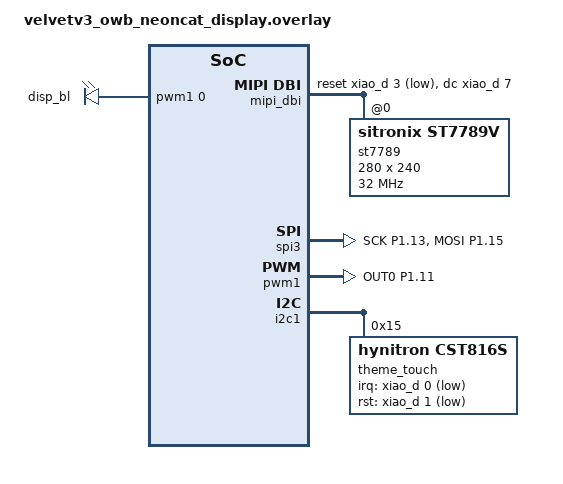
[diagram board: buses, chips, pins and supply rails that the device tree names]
/* SPDX-License-Identifier: MIT
 * XIAO ST7789 + CST816S hardware adapted from t-ogura/prospector-zmk-module (MIT).
 * MIPI DBI dc-gpios is data-high; this was physically validated on this panel.
 */
#include <zephyr/dt-bindings/gpio/gpio.h>
#include <zephyr/dt-bindings/pwm/pwm.h>
/ {
    chosen { zephyr,display = &st7789; zmk,touch = &theme_touch; };
    pwmleds { compatible = "pwm-leds";
        disp_bl: pwm_led_1 { pwms = <&pwm1 0 PWM_MSEC(1) PWM_POLARITY_NORMAL>; };
    };
    mipi_dbi {
        compatible = "zephyr,mipi-dbi-spi";
        spi-dev = <&spi3>;
        dc-gpios = <&xiao_d 7 GPIO_ACTIVE_HIGH>;
        reset-gpios = <&xiao_d 3 GPIO_ACTIVE_LOW>;
        write-only;
        #address-cells = <1>; #size-cells = <0>;
        st7789: st7789v@0 {
            compatible = "sitronix,st7789v";
            /* nRF SPIM rounds 30 MHz DOWN to 16 MHz. Select the real 32 MHz bin. */
            reg = <0>; mipi-max-frequency = <32000000>; mipi-mode = "MIPI_DBI_MODE_SPI_4WIRE";
            width = <280>; height = <240>; x-offset = <20>; y-offset = <0>;
            vcom = <0x19>; gctrl = <0x35>; vrhs = <0x12>; vdvs = <0x20>;
            mdac = <0x60>; gamma = <0x01>; colmod = <0x05>; lcm = <0x2c>;
            porch-param = [0c 0c 00 33 33]; cmd2en-param = [5a 69 02 01];
            pwctrl1-param = [a4 a1]; pvgam-param = [D0 04 0D 11 13 2B 3F 54 4C 18 0D 0B 1F 23];
            nvgam-param = [D0 04 0C 11 13 2C 3F 44 51 2F 1F 1F 20 23];
            ram-param = [00 F0]; rgb-param = [CD 08 14];
        };
    };
};
&spi2 { status = "disabled"; };
&uart0 { status = "disabled"; };
&pinctrl {
    theme_spi_default: theme_spi_default { group1 { psels = <NRF_PSEL(SPIM_SCK,1,13)>, <NRF_PSEL(SPIM_MOSI,1,15)>; }; };
    theme_spi_sleep: theme_spi_sleep { group1 { psels = <NRF_PSEL(SPIM_SCK,1,13)>, <NRF_PSEL(SPIM_MOSI,1,15)>; low-power-enable; }; };
    theme_pwm_default: theme_pwm_default { group1 { psels = <NRF_PSEL(PWM_OUT0,1,11)>; nordic,invert; }; };
    theme_pwm_sleep: theme_pwm_sleep { group1 { psels = <NRF_PSEL(PWM_OUT0,1,11)>; low-power-enable; }; };
};
&spi3 { status = "okay"; pinctrl-0 = <&theme_spi_default>; pinctrl-1 = <&theme_spi_sleep>; pinctrl-names = "default", "sleep"; cs-gpios = <&xiao_d 9 GPIO_ACTIVE_LOW>; };
&pwm1 { status = "okay"; pinctrl-0 = <&theme_pwm_default>; pinctrl-1 = <&theme_pwm_sleep>; pinctrl-names = "default", "sleep"; };
&i2c1 {
    status = "okay";
    theme_touch: cst816s@15 { compatible = "hynitron,cst816s"; reg = <0x15>;
        irq-gpios = <&xiao_d 0 (GPIO_ACTIVE_LOW | GPIO_PULL_UP)>; rst-gpios = <&xiao_d 1 GPIO_ACTIVE_LOW>;
    };
};
